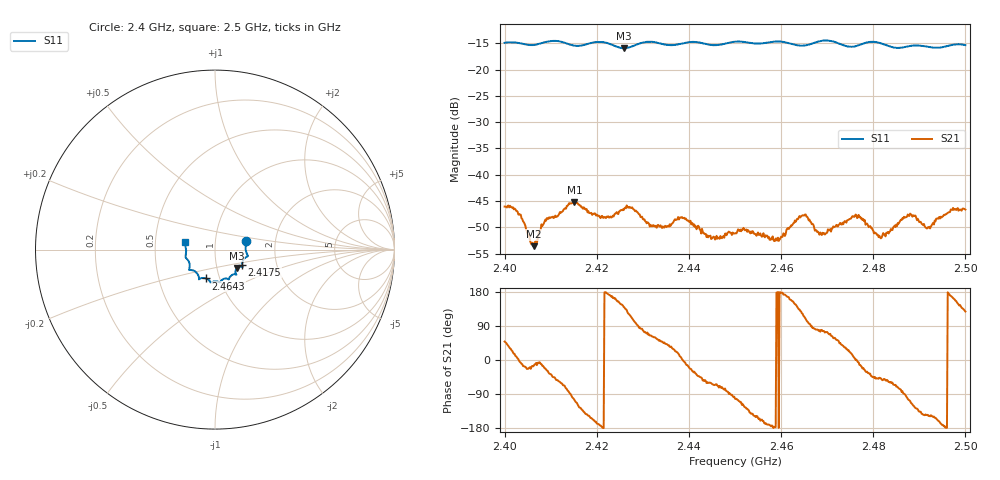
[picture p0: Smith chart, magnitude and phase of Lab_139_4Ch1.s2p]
# Hz S RI R 50
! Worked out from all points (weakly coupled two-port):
!   601 points, 2.4 GHz to 2.5 GHz, reference 50 ohm
!   highest |S21| = -45.16 dB at 2.4152 GHz (marker M1); lowest = -53.6 dB at 2.4063 GHz (marker M2)
!   lowest |S11| = -15.9 dB at 2.4258 GHz (marker M3), VSWR 1.38, Z = 62.4 - j13.1 ohm
!   |S11| at or under -10 dB: start of sweep to end of sweep
!   S12 and S22 are empty: the file has one direction only
!   S11 on the Smith chart (normalised r, x): 2.4 GHz: 1.41, +0.14; 2.4175 GHz: 1.33, -0.23; 2.4643 GHz: 0.86, -0.29; 2.5 GHz: 0.71, +0.06
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2.4e9  0.1728 0.0479  0.0033 0.00374  0 0  0 0
2.403e9  0.1754 0.0351  0.00418 0.000133  0 0  0 0
2.406333e9  0.1711 -0.00112  0.00203 -0.000543  0 0  0 0
2.409167e9  0.1809 -0.0302  0.00343 -0.00179  0 0  0 0
2.415167e9  0.1586 -0.0562  -0.00149 -0.00532  0 0  0 0
2.416667e9  0.1523 -0.0732  -0.00314 -0.00378  0 0  0 0
2.4175e9  0.1512 -0.0831  -0.00372 -0.00298  0 0  0 0
2.425833e9  0.1222 -0.1025  -0.00355 0.00295  0 0  0 0
2.433333e9  0.1138 -0.1375  0.00197 0.0027  0 0  0 0
2.4385e9  0.0801 -0.1568  0.00396 0.000141  0 0  0 0
2.445333e9  0.0537 -0.1615  0.00109 -0.00234  0 0  0 0
2.45e9  0.0281 -0.1818  -0.000589 -0.00271  0 0  0 0
2.459e9  -0.0234 -0.1831  -0.00248 8.99e-05  0 0  0 0
2.464333e9  -0.0494 -0.161  -0.00249 0.00316  0 0  0 0
2.466667e9  -0.076 -0.1587  4.83e-05 0.00339  0 0  0 0
2.469167e9  -0.0894 -0.1657  0.000642 0.00269  0 0  0 0
2.476667e9  -0.1229 -0.1156  0.00392 -0.000368  0 0  0 0
2.481333e9  -0.1433 -0.1076  0.0018 -0.00192  0 0  0 0
2.483333e9  -0.1405 -0.0904  0.00147 -0.00235  0 0  0 0
2.487833e9  -0.1594 -0.0492  -0.00115 -0.0039  0 0  0 0
2.491833e9  -0.1622 -0.0273  -0.00259 -0.00183  0 0  0 0
2.5e9  -0.1646 0.0438  -0.00288 0.00368  0 0  0 0
